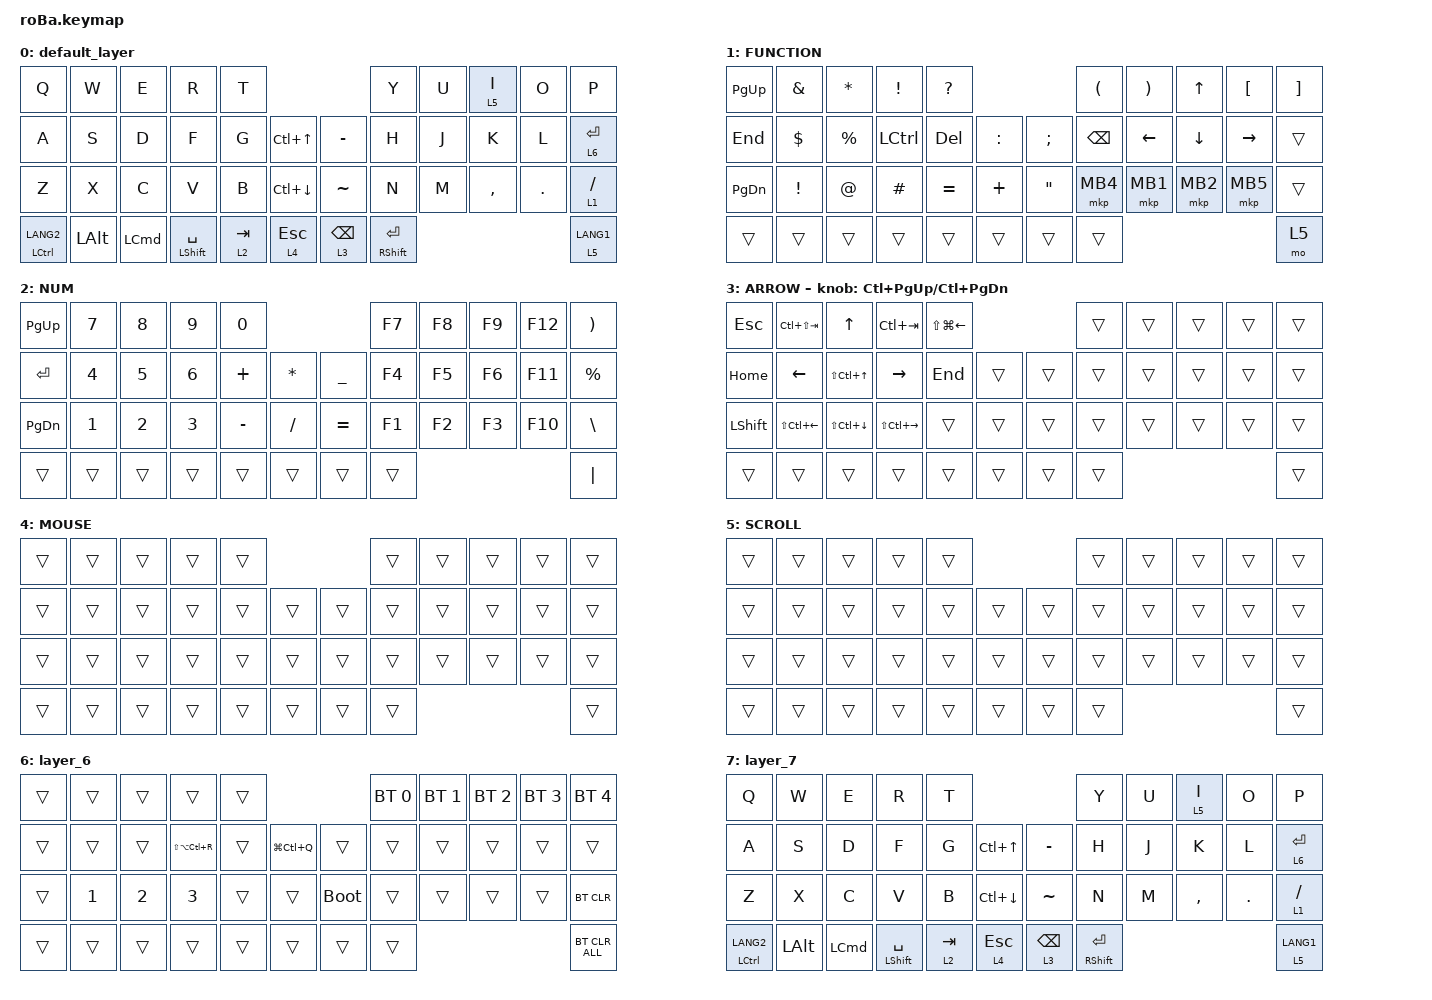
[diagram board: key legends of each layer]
#include <behaviors.dtsi>
#include <dt-bindings/zmk/bt.h>
#include <dt-bindings/zmk/keys.h>
#include <dt-bindings/zmk/pointing.h>

&mt {
    flavor = "balanced";
    quick-tap-ms = <0>;
};

&trackball {
    automouse-layer = <4>;
    scroll-layers = <5>;

    // arrows {
    //     layers = <3>;
    //     bindings =
    //         <&kp RIGHT_ARROW>,
    //         <&kp LEFT_ARROW>,
    //         <&kp UP_ARROW>,
    //         <&kp DOWN_ARROW>;
    //     tick = <10>;
    //     wait-ms = <5>;
    //     tap-ms = <5>;
    // };
};

/ {
    combos {
        compatible = "zmk,combos";

        tab {
            bindings = <&kp TAB>;
            key-positions = <0 1>;
        };

        Copy {
            bindings = <&kp LG(C)>;
            key-positions = <10 11>;
        };

        Paste {
            bindings = <&kp LG(V)>;
            key-positions = <12 13>;
        };

        Cut {
            bindings = <&kp LG(X)>;
            key-positions = <11 12>;
        };

        allselect {
            bindings = <&kp LG(A)>;
            key-positions = <22 10>;
        };

        NewTab {
            bindings = <&kp LG(T)>;
            key-positions = <4 3>;
        };

        DeleteTab {
            bindings = <&kp LG(W)>;
            key-positions = <1 2>;
        };

        Redo {
            bindings = <&kp LG(Z)>;
            key-positions = <22 23>;
        };

        pageback {
            bindings = <&kp LG(LEFT_BRACKET)>;
            key-positions = <8 7>;
        };

        pageforward {
            bindings = <&kp LG(RIGHT_BRACKET)>;
            key-positions = <8 9>;
        };

        pagebackchrome {
            bindings = <&kp LG(LEFT_ARROW)>;
            key-positions = <5 6>;
        };

        reload {
            bindings = <&kp LG(R)>;
            key-positions = <3 2>;
        };
    };

    macros {
        to_layer_0: to_layer_0 {
            compatible = "zmk,behavior-macro-one-param";
            #binding-cells = <1>;
            bindings = <&to 0 &macro_param_1to1 &kp MACRO_PLACEHOLDER>;
            label = "TO_LAYER_0";
        };
    };

    behaviors {
        lt_to_layer_0: lt_to_layer_0 {
            compatible = "zmk,behavior-hold-tap";
            label = "LAYER_TAP_TO_0";
            bindings = <&mo>, <&to_layer_0>;

            #binding-cells = <2>;
            tapping-term-ms = <200>;
        };
    };

    keymap {
        compatible = "zmk,keymap";

        default_layer {
            bindings = <
&kp Q            &kp W         &kp E             &kp R                 &kp T                                               &kp Y                  &kp U  &lt 5 I    &kp O    &kp P
&kp A            &kp S         &kp D             &kp F                 &kp G      &kp LC(UP_ARROW)        &kp MINUS        &kp H                  &kp J  &kp K      &kp L    &lt 6 ENTER
&kp Z            &kp X         &kp C             &kp V                 &kp B      &kp LC(DOWN_ARROW)      &kp TILDE        &kp N                  &kp M  &kp COMMA  &kp DOT  &lt 1 SLASH
&mt LCTRL LANG2  &kp LEFT_ALT  &kp LEFT_COMMAND  &mt LEFT_SHIFT SPACE  &lt 2 TAB  &lt 4 ESC               &lt 3 BACKSPACE  &mt RIGHT_SHIFT ENTER                             &lt 5 LANG1
            >;
        };

        FUNCTION {
            bindings = <
&kp PAGE_UP    &kp AMPERSAND    &kp ASTERISK  &kp EXCLAMATION  &kp QUESTION                                    &kp LEFT_PARENTHESIS  &kp RIGHT_PARENTHESIS  &kp UP_ARROW    &kp LEFT_BRACKET  &kp RIGHT_BRACKET
&kp END        &kp DOLLAR       &kp PERCENT   &kp LCTRL        &kp DELETE    &kp COLON      &kp SEMICOLON      &kp BACKSPACE         &kp LEFT_ARROW         &kp DOWN_ARROW  &kp RIGHT_ARROW   &trans
&kp PAGE_DOWN  &kp EXCLAMATION  &kp AT_SIGN   &kp HASH         &kp EQUAL     &kp PLUS       &kp DOUBLE_QUOTES  &mkp MB4              &mkp MB1               &mkp MB2        &mkp MB5          &trans
&trans         &trans           &trans        &trans           &trans        &trans         &trans             &trans                                                                         &mo 5
            >;
        };

        NUM {
            bindings = <
&kp PAGE_UP    &kp NUMBER_7  &kp NUMBER_8  &kp NUMBER_9  &kp NUMBER_0                                    &kp F7  &kp F8  &kp F9  &kp F12  &kp RIGHT_PARENTHESIS
&kp ENTER      &kp NUMBER_4  &kp NUMBER_5  &kp NUMBER_6  &kp PLUS      &kp ASTERISK      &kp UNDERSCORE  &kp F4  &kp F5  &kp F6  &kp F11  &kp PERCENT
&kp PAGE_DOWN  &kp NUMBER_1  &kp NUMBER_2  &kp NUMBER_3  &kp MINUS     &kp SLASH         &kp EQUAL       &kp F1  &kp F2  &kp F3  &kp F10  &kp BACKSLASH
&trans         &trans        &trans        &trans        &trans        &trans            &trans          &trans                           &kp PIPE
            >;
        };

        ARROW {
            bindings = <
&kp ESCAPE      &kp LC(LS(TAB))         &kp UP_ARROW            &kp LC(TAB)              &kp LS(LG(LEFT_ARROW))                      &trans  &trans  &trans  &trans  &trans
&kp HOME        &kp LEFT_ARROW          &kp LS(LC(UP_ARROW))    &kp RIGHT_ARROW          &kp END                 &trans      &trans  &trans  &trans  &trans  &trans  &trans
&kp LEFT_SHIFT  &kp LS(LC(LEFT_ARROW))  &kp LS(LC(DOWN_ARROW))  &kp LS(LC(RIGHT_ARROW))  &trans                  &trans      &trans  &trans  &trans  &trans  &trans  &trans
&trans          &trans                  &trans                  &trans                   &trans                  &trans      &trans  &trans                          &trans
            >;

            sensor-bindings = <&inc_dec_kp LC(PAGE_UP) LC(PAGE_DOWN)>;
        };

        MOUSE {
            bindings = <
&trans  &trans  &trans  &trans  &trans                      &trans  &trans  &trans  &trans  &trans
&trans  &trans  &trans  &trans  &trans  &trans      &trans  &trans  &trans  &trans  &trans  &trans
&trans  &trans  &trans  &trans  &trans  &trans      &trans  &trans  &trans  &trans  &trans  &trans
&trans  &trans  &trans  &trans  &trans  &trans      &trans  &trans                          &trans
            >;
        };

        SCROLL {
            bindings = <
&trans  &trans  &trans  &trans  &trans                      &trans  &trans  &trans  &trans  &trans
&trans  &trans  &trans  &trans  &trans  &trans      &trans  &trans  &trans  &trans  &trans  &trans
&trans  &trans  &trans  &trans  &trans  &trans      &trans  &trans  &trans  &trans  &trans  &trans
&trans  &trans  &trans  &trans  &trans  &trans      &trans  &trans                          &trans
            >;
        };

        layer_6 {
            bindings = <
&trans  &trans        &trans        &trans             &trans                                  &bt BT_SEL 0  &bt BT_SEL 1  &bt BT_SEL 2  &bt BT_SEL 3  &bt BT_SEL 4
&trans  &trans        &trans        &kp LS(LA(LC(R)))  &trans  &kp LG(LC(Q))      &trans       &trans        &trans        &trans        &trans        &trans
&trans  &kp NUMBER_1  &kp NUMBER_2  &kp NUMBER_3       &trans  &trans             &bootloader  &trans        &trans        &trans        &trans        &bt BT_CLR
&trans  &trans        &trans        &trans             &trans  &trans             &trans       &trans                                                  &bt BT_CLR_ALL
            >;
        };

        layer_7 {
            bindings = <
&kp Q            &kp W         &kp E             &kp R                 &kp T                                               &kp Y                  &kp U  &lt 5 I    &kp O    &kp P
&kp A            &kp S         &kp D             &kp F                 &kp G      &kp LC(UP_ARROW)        &kp MINUS        &kp H                  &kp J  &kp K      &kp L    &lt 6 ENTER
&kp Z            &kp X         &kp C             &kp V                 &kp B      &kp LC(DOWN_ARROW)      &kp TILDE        &kp N                  &kp M  &kp COMMA  &kp DOT  &lt 1 SLASH
&mt LCTRL LANG2  &kp LEFT_ALT  &kp LEFT_COMMAND  &mt LEFT_SHIFT SPACE  &lt 2 TAB  &lt 4 ESC               &lt 3 BACKSPACE  &mt RIGHT_SHIFT ENTER                             &lt 5 LANG1
            >;
        };
    };
};
